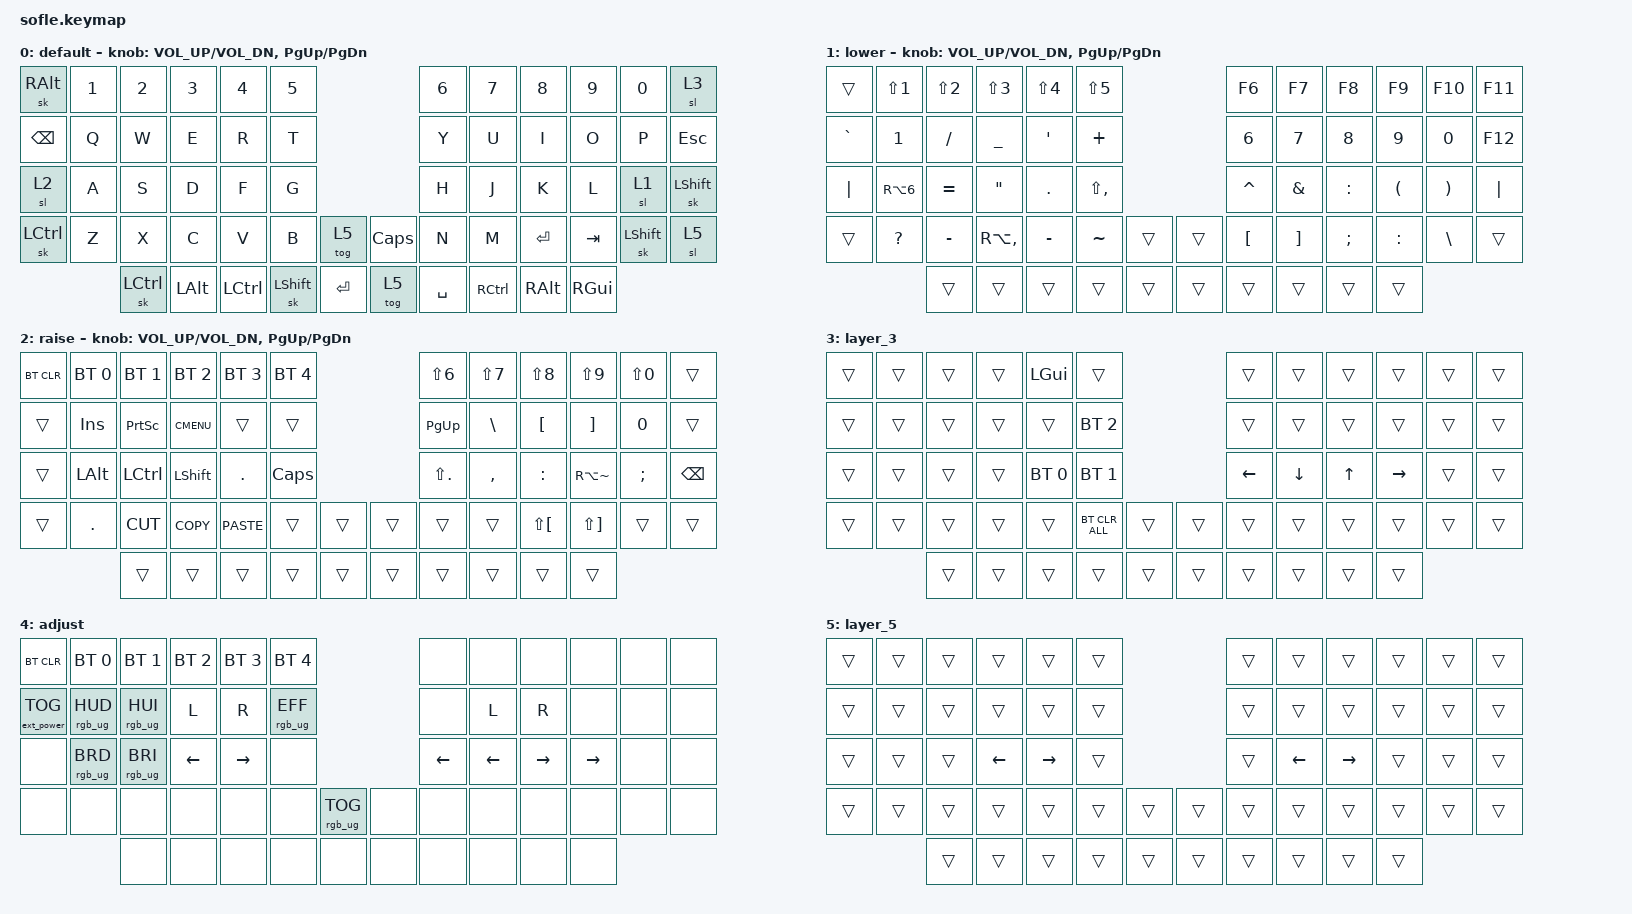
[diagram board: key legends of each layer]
/*
 * Copyright (c) 2020 The ZMK Contributors
 *
 * SPDX-License-Identifier: MIT
 */

#include <behaviors.dtsi>
#include <dt-bindings/zmk/bt.h>
#include <dt-bindings/zmk/ext_power.h>
#include <dt-bindings/zmk/keys.h>
#include <dt-bindings/zmk/rgb.h>

#define BASE 0
#define LOWER 1
#define RAISE 2
#define ADJUST 3

/ {
    // Activate ADJUST layer by pressing raise and lower

    conditional_layers {
        compatible = "zmk,conditional-layers";

        adjust_layer {
            if-layers = <1 2>;
            then-layer = <4>;
        };
    };

    keymap {
        compatible = "zmk,keymap";

        default_layer {
            display-name = "default";

            // ------------------------------------------------------------------------------------------------------------
            // |   `   |  1  |  2  |  3   |  4   |  5   |                   |  6   |  7    |  8    |  9   |   0   |       |
            // |  ESC  |  Q  |  W  |  E   |  R   |  T   |                   |  Y   |  U    |  I    |  O   |   P   | BKSPC |
            // |  TAB  |  A  |  S  |  D   |  F   |  G   |                   |  H   |  J    |  K    |  L   |   ;   |   '   |
            // | SHIFT |  Z  |  X  |  C   |  V   |  B   |  MUTE  |  |       |  N   |  M    |  ,    |  .   |   /   | SHIFT |
            //               | GUI | ALT  | CTRL | LOWER|  ENTER |  | SPACE | RAISE| CTRL  | ALT   | GUI  |

            bindings = <
&sk RALT          &kp N1  &kp N2            &kp N3    &kp N4     &kp N5                               &kp N6     &kp N7     &kp N8     &kp N9    &kp N0          &sl 3
&kp BACKSPACE     &kp Q   &kp W             &kp E     &kp R      &kp T                                &kp Y      &kp U      &kp I      &kp O     &kp P           &kp ESCAPE
&sl 2             &kp A   &kp S             &kp D     &kp F      &kp G                                &kp H      &kp J      &kp K      &kp L     &sl 1           &sk LSHFT
&sk LEFT_CONTROL  &kp Z   &kp X             &kp C     &kp V      &kp B           &tog 5     &kp CLCK  &kp N      &kp M      &kp ENTER  &kp TAB   &sk LEFT_SHIFT  &sl 5
                          &sk LEFT_CONTROL  &kp LALT  &kp LCTRL  &sk LEFT_SHIFT  &kp RET    &tog 5    &kp SPACE  &kp RCTRL  &kp RALT   &kp RGUI
            >;

            sensor-bindings = <&inc_dec_kp C_VOL_UP C_VOL_DN &inc_dec_kp PG_UP PG_DN>;
        };

        lower_layer {
            display-name = "lower";

            // TODO: Some binds are waiting for shifted keycode support.
            // ------------------------------------------------------------------------------------------------------------
            // |       |  F1 |  F2 |  F3  |  F4  |  F5  |                   |  F6  |  F7   |  F8   |  F9  |  F10  |  F11  |
            // |   `   |  1  |  2  |  3   |  4   |  5   |                   |  6   |  7    |  8    |  9   |   0   |  F12  |
            // |       |  !  |  @  |  #   |  $   |  %   |                   |  ^   |  &    |  *    |  (   |   )   |   |   |
            // |       |  =  |  -  |  +   |  {   |  }   |        |  |       |  [   |  ]    |  ;    |  :   |   \   |       |
            //               |     |      |      |      |        |  |       |      |       |       |      |

            bindings = <
&trans     &kp LS(NUMBER_1)  &kp LS(NUMBER_2)  &kp LS(NUMBER_3)  &kp LS(NUMBER_4)  &kp LS(N5)                       &kp F6     &kp F7    &kp F8     &kp F9     &kp F10   &kp F11
&kp GRAVE  &kp N1            &kp SLASH         &kp UNDER         &kp SINGLE_QUOTE  &kp PLUS                         &kp N6     &kp N7    &kp N8     &kp N9     &kp N0    &kp F12
&kp PIPE   &kp RA(NUMBER_6)  &kp EQUAL         &kp DQT           &kp PERIOD        &kp LS(COMMA)                    &kp CARET  &kp AMPS  &kp COLON  &kp LPAR   &kp RPAR  &kp PIPE
&trans     &kp QUESTION      &kp MINUS         &kp RA(COMMA)     &kp MINUS         &kp TILDE      &trans    &trans  &kp LBKT   &kp RBKT  &kp SEMI   &kp COLON  &kp BSLH  &trans
                             &trans            &trans            &trans            &trans         &trans    &trans  &trans     &trans    &trans     &trans
            >;

            sensor-bindings = <&inc_dec_kp C_VOL_UP C_VOL_DN &inc_dec_kp PG_UP PG_DN>;
        };

        raise_layer {
            display-name = "raise";

            // ------------------------------------------------------------------------------------------------------------
            // | BTCLR | BT1  | BT2  |  BT3  |  BT4  |  BT5 |                |      |      |       |      |       |       |
            // |       | INS  | PSCR | GUI   |       |      |                | PGUP |      |   ^   |      |       |       |
            // |       | ALT  | CTRL | SHIFT |       | CAPS |                | PGDN |   <- |   v   |  ->  |  DEL  | BKSPC |
            // |       | UNDO | CUT  | COPY  | PASTE |      |      |  |      |      |      |       |      |       |       |
            //                |      |       |       |      |      |  |      |      |      |       |      |

            bindings = <
&bt BT_CLR  &bt BT_SEL 0  &bt BT_SEL 1  &bt BT_SEL 2  &bt BT_SEL 3  &bt BT_SEL 4                    &kp LS(NUMBER_6)  &kp LS(N7)     &kp LS(N8)            &kp LS(N9)             &kp LS(N0)  &trans
&trans      &kp INS       &kp PSCRN     &kp K_CMENU   &trans        &trans                          &kp PG_UP         &kp BACKSLASH  &kp LEFT_BRACKET      &kp RIGHT_BRACKET      &kp N0      &trans
&trans      &kp LALT      &kp LCTRL     &kp LSHFT     &kp PERIOD    &kp CLCK                        &kp LS(PERIOD)    &kp COMMA      &kp COLON             &kp RA(TILDE)          &kp SEMI    &kp BSPC
&trans      &kp DOT       &kp K_CUT     &kp K_COPY    &kp K_PASTE   &trans        &trans    &trans  &trans            &trans         &kp LS(LEFT_BRACKET)  &kp LS(RIGHT_BRACKET)  &trans      &trans
                          &trans        &trans        &trans        &trans        &trans    &trans  &trans            &trans         &trans                &trans
            >;

            sensor-bindings = <&inc_dec_kp C_VOL_UP C_VOL_DN &inc_dec_kp PG_UP PG_DN>;
        };

        layer_3 {
            bindings = <
&trans  &trans  &trans  &trans  &kp LGUI      &trans                            &trans          &trans          &trans        &trans     &trans  &trans
&trans  &trans  &trans  &trans  &trans        &bt BT_SEL 2                      &trans          &trans          &trans        &trans     &trans  &trans
&trans  &trans  &trans  &trans  &bt BT_SEL 0  &bt BT_SEL 1                      &kp LEFT_ARROW  &kp DOWN_ARROW  &kp UP_ARROW  &kp RIGHT  &trans  &trans
&trans  &trans  &trans  &trans  &trans        &bt BT_CLR_ALL  &trans    &trans  &trans          &trans          &trans        &trans     &trans  &trans
                &trans  &trans  &trans        &trans          &trans    &trans  &trans          &trans          &trans        &trans
            >;
        };

        adjust_layer {
            // ----------------------------------------------------------------------------------------------------------------------------
            // | BTCLR  |  BT1    |  BT2    |   BT3   |   BT4   |   BT5   |                  |      |      |       |      |       |       |
            // | EXTPWR | RGB_HUD | RGB_HUI | RGB_SAD | RGB_SAI | RGB_EFF |                  |      |      |       |      |       |       |
            // |        | RGB_BRD | RGB_BRI |         |         |         |                  |      |      |       |      |       |       |
            // |        |         |         |         |         |         | RGB_TOG | |      |      |      |       |      |       |       |
            //                    |         |         |         |         |         | |      |      |      |       |      |

            display-name = "adjust";
            bindings = <
&bt BT_CLR         &bt BT_SEL 0     &bt BT_SEL 1     &bt BT_SEL 2  &bt BT_SEL 3  &bt BT_SEL 4                               &none           &none           &none      &none      &none  &none
&ext_power EP_TOG  &rgb_ug RGB_HUD  &rgb_ug RGB_HUI  &kp L         &kp R         &rgb_ug RGB_EFF                            &none           &kp L           &kp R      &none      &none  &none
&none              &rgb_ug RGB_BRD  &rgb_ug RGB_BRI  &kp LEFT      &kp RIGHT     &none                                      &kp LEFT_ARROW  &kp LEFT_ARROW  &kp RIGHT  &kp RIGHT  &none  &none
&none              &none            &none            &none         &none         &none            &rgb_ug RGB_TOG    &none  &none           &none           &none      &none      &none  &none
                                    &none            &none         &none         &none            &none              &none  &none           &none           &none      &none
            >;
        };

        layer_5 {
            bindings = <
&trans  &trans  &trans  &trans    &trans     &trans                    &trans  &trans    &trans     &trans  &trans  &trans
&trans  &trans  &trans  &trans    &trans     &trans                    &trans  &trans    &trans     &trans  &trans  &trans
&trans  &trans  &trans  &kp LEFT  &kp RIGHT  &trans                    &trans  &kp LEFT  &kp RIGHT  &trans  &trans  &trans
&trans  &trans  &trans  &trans    &trans     &trans  &trans    &trans  &trans  &trans    &trans     &trans  &trans  &trans
                &trans  &trans    &trans     &trans  &trans    &trans  &trans  &trans    &trans     &trans
            >;
        };
    };
};
